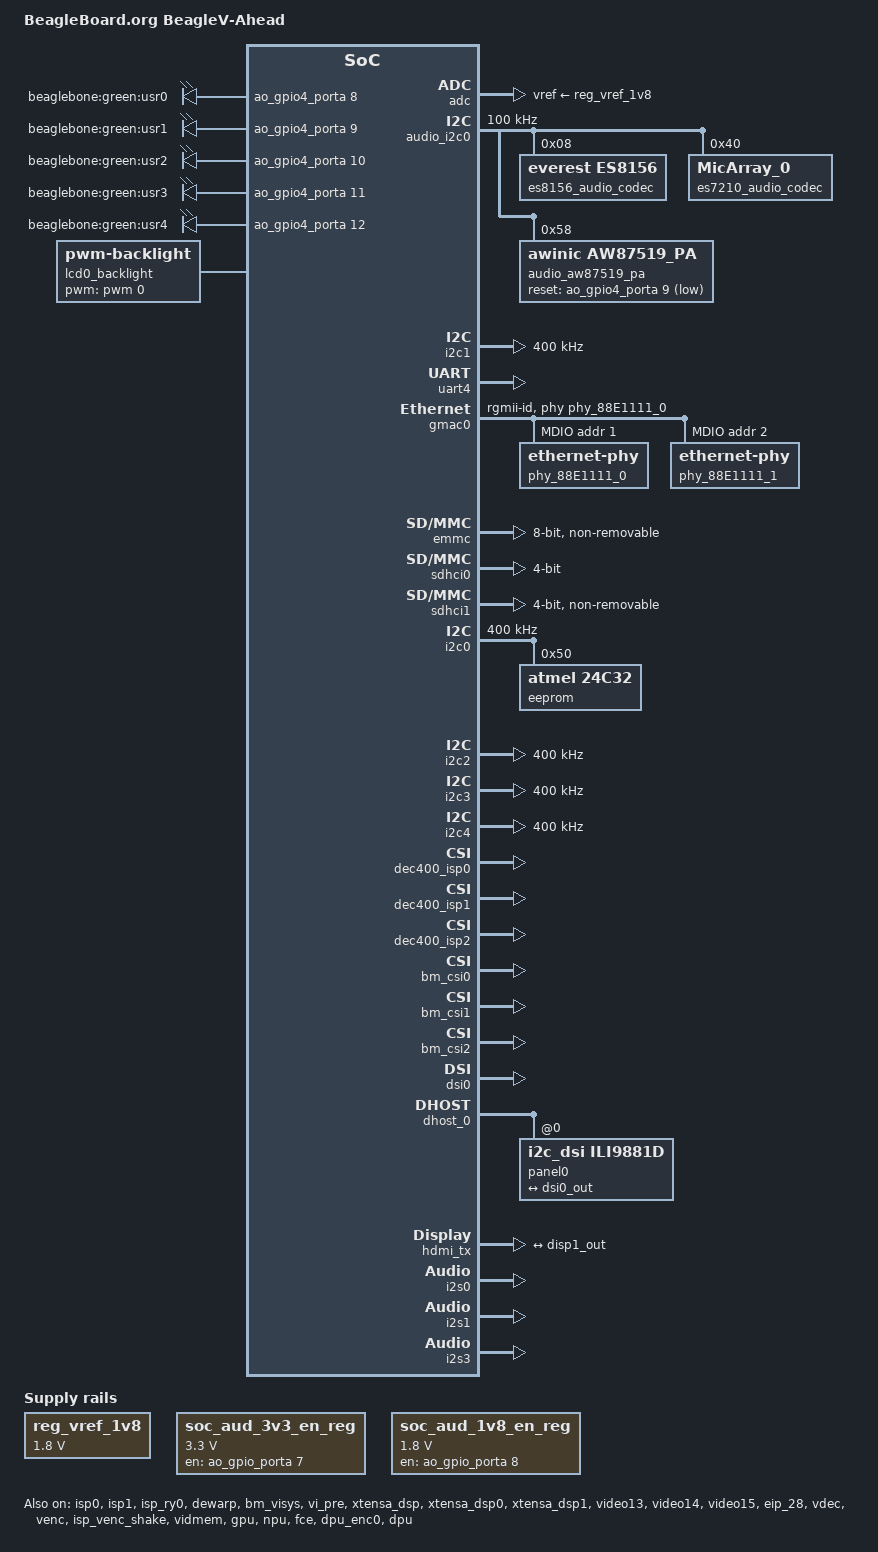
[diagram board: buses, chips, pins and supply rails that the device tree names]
/* SPDX-License-Identifier: GPL-2.0 */
/*
 * Copyright (C) 2021 Alibaba Group Holding Limited.
 * Copyright (C) 2022 BeagleBoard.org - https://beagleboard.org/
 * Copyright (C) 2022 Deepak Khatri <lorforlinux@beagleboard.org>
 */

/dts-v1/;

#include "light.dtsi"
#include <dt-bindings/input/linux-event-codes.h>
#include <dt-bindings/gpio/gpio.h>
#include "light-vi-devices.dtsi"
/ {
	model = "BeagleBoard.org BeagleV-Ahead";
	compatible = "beagle,light", "thead,light-val", "thead,light";

	chosen {
		bootargs = "console=ttyS0,115200 crashkernel=256M-:128M earlycon clk_ignore_unused sram=0xffe0000000,0x180000";
		stdout-path = "serial0:115200n8";
	};

	leds {
		compatible = "gpio-leds";
		pinctrl-names = "default";
		pinctrl-0 = <&led_pins_default>;

		led-0 {
			label = "beaglebone:green:usr0";
			gpios = <&ao_gpio4_porta 8 GPIO_ACTIVE_HIGH>;
			linux,default-trigger = "heartbeat";
			//function = LED_FUNCTION_HEARTBEAT;
		};

		led-1 {
			label = "beaglebone:green:usr1";
			gpios = <&ao_gpio4_porta 9 GPIO_ACTIVE_HIGH>;
			linux,default-trigger = "mmc0";
			//function = LED_FUNCTION_DISK_ACTIVITY;
		};

		led-2 {
			label = "beaglebone:green:usr2";
			gpios = <&ao_gpio4_porta 10 GPIO_ACTIVE_HIGH>;
			linux,default-trigger = "cpu";
			//function = LED_FUNCTION_CPU;
		};

		led-3 {
			label = "beaglebone:green:usr3";
			gpios = <&ao_gpio4_porta 11 GPIO_ACTIVE_HIGH>;
			linux,default-trigger = "mmc1";
			//function = LED_FUNCTION_DISK_ACTIVITY;
		};

		led-4 {
			label = "beaglebone:green:usr4";
			gpios = <&ao_gpio4_porta 12 GPIO_ACTIVE_HIGH>;
			linux,default-trigger = "netdev";
			//function = LED_FUNCTION_WLAN;
		};
	};

	display-subsystem {
		status = "okay";
	};

	lcd0_backlight: pwm-backlight@0 {
		compatible = "pwm-backlight";
		pwms = <&pwm 0 5000000>;
		brightness-levels = <0 4 8 16 32 64 128 255>;
		default-brightness-level = <7>;
	};

	light_iopmp: iopmp {
		compatible = "thead,light-iopmp";

		/* config#1: multiple valid regions */
		iopmp_emmc: IOPMP_EMMC {
			regions = <0x000000 0x100000>,
				  <0x100000 0x200000>;
			attr = <0xFFFFFFFF>;
			dummy_slave= <0x800000>;
		};

		/* config#2: iopmp bypass */
		iopmp_sdio0: IOPMP_SDIO0 {
			bypass_en;
		};

		/* config#3: iopmp default region set */
		iopmp_sdio1: IOPMP_SDIO1 {
			attr = <0xFFFFFFFF>;
			is_default_region;
		};

		iopmp_usb0: IOPMP_USB0 {
			attr = <0xFFFFFFFF>;
			is_default_region;
		};

		iopmp_ao: IOPMP_AO {
			is_default_region;
		};

		iopmp_aud: IOPMP_AUD {
			is_default_region;
		};

		iopmp_chip_dbg: IOPMP_CHIP_DBG {
			is_default_region;
		};

		iopmp_eip120i: IOPMP_EIP120I {
			is_default_region;
		};

		iopmp_eip120ii: IOPMP_EIP120II {
			is_default_region;
		};

		iopmp_eip120iii: IOPMP_EIP120III {
			is_default_region;
		};

		iopmp_isp0: IOPMP_ISP0 {
			is_default_region;
		};

		iopmp_isp1: IOPMP_ISP1 {
			is_default_region;
		};

		iopmp_dw200: IOPMP_DW200 {
			is_default_region;
		};

		iopmp_vipre: IOPMP_VIPRE {
			is_default_region;
		};

		iopmp_venc: IOPMP_VENC {
			is_default_region;
		};

		iopmp_vdec: IOPMP_VDEC {
			is_default_region;
		};

		iopmp_g2d: IOPMP_G2D {
			is_default_region;
		};

		iopmp_fce: IOPMP_FCE {
			is_default_region;
		};

		iopmp_npu: IOPMP_NPU {
			is_default_region;
		};

		iopmp0_dpu: IOPMP0_DPU {
			bypass_en;
		};

		iopmp1_dpu: IOPMP1_DPU {
			bypass_en;
		};

		iopmp_gpu: IOPMP_GPU {
			is_default_region;
		};

		iopmp_gmac1: IOPMP_GMAC1 {
			is_default_region;
		};

		iopmp_gmac2: IOPMP_GMAC2 {
			is_default_region;
		};

		iopmp_dmac: IOPMP_DMAC {
			is_default_region;
		};

		iopmp_tee_dmac: IOPMP_TEE_DMAC {
			is_default_region;
		};

		iopmp_dsp0: IOPMP_DSP0 {
			is_default_region;
		};

		iopmp_dsp1: IOPMP_DSP1 {
			is_default_region;
		};
	};

	mbox_910t_client1: mbox_910t_client1 {
		compatible = "thead,light-mbox-client";
		mbox-names = "902";
		mboxes = <&mbox_910t 1 0>;
		status = "disabled";
	};


	mbox_910t_client2: mbox_910t_client2 {
		compatible = "thead,light-mbox-client";
		mbox-names = "906";
		mboxes = <&mbox_910t 2 0>;
		status = "disabled";
	};

	lightsound: lightsound@1 {
		compatible = "simple-audio-card";
		simple-audio-card,name = "Light-Sound-Card";

		#address-cells = <1>;
		#size-cells = <0>;

		status = "disabled";
	};

	dummy_codec: dummy_codec {
		#sound-dai-cells = <1>;
		compatible = "linux,bt-sco";
		status = "okay";
	};

	reg_vref_1v8: regulator-adc-verf {
			compatible = "regulator-fixed";
			regulator-name = "vref-1v8";
			regulator-min-microvolt = <1800000>;
			regulator-max-microvolt = <1800000>;
		status = "okay";
	};

	aon: aon {
		compatible = "thead,light-aon";
		mbox-names = "aon";
		mboxes = <&mbox_910t 1 0>;
		status = "okay";

		pd: light-aon-pd {
			compatible = "thead,light-aon-pd";
			#power-domain-cells = <1>;
		};

		soc_aud_3v3_en_reg: soc_aud_3v3_en {
			compatible = "regulator-fixed";
			regulator-name = "soc_aud_3v3_en";
			regulator-min-microvolt = <3300000>;
			regulator-max-microvolt = <3300000>;
			gpio = <&ao_gpio_porta 7 1>;
			enable-active-high;
			regulator-always-on;
		};

		soc_aud_1v8_en_reg: soc_aud_1v8_en {
			compatible = "regulator-fixed";
			regulator-name = "soc_aud_1v8_en";
			regulator-min-microvolt = <1800000>;
			regulator-max-microvolt = <1800000>;
			gpio = <&ao_gpio_porta 8 1>;
			enable-active-high;
			regulator-always-on;
		};

		aon_reg_dialog: light-dialog-reg {
			compatible = "thead,light-dialog-pmic-ant";
			status = "okay";

			dvdd_cpu_reg: appcpu_dvdd {
				regulator-name = "appcpu_dvdd";
				regulator-min-microvolt = <300000>;
				regulator-max-microvolt = <1570000>;
				regulator-boot-on;
				regulator-always-on;
			};

			dvddm_cpu_reg: appcpu_dvddm {
				regulator-name = "appcpu_dvddm";
				regulator-min-microvolt = <300000>;
				regulator-max-microvolt = <1570000>;
				regulator-boot-on;
				regulator-always-on;
			};

			soc_dvdd18_aon_reg: soc_dvdd18_aon {
				regulator-name = "soc_dvdd18_aon";
				regulator-boot-on;
				regulator-always-on;
			};

			soc_avdd33_usb3_reg: soc_avdd33_usb3 {
				regulator-name = "soc_avdd33_usb3";
				regulator-boot-on;
				regulator-always-on;
			};

			soc_dvdd08_aon_reg: soc_dvdd08_aon {
				regulator-name = "soc_dvdd08_aon";
				regulator-boot-on;
				regulator-always-on;
			};

			soc_dvdd08_ddr_reg: soc_dvdd08_ddr {
				regulator-name = "soc_dvdd08_ddr";
				regulator-boot-on;
				regulator-always-on;
			};

			soc_vdd_ddr_1v8_reg: soc_vdd_ddr_1v8 {
				regulator-name = "soc_vdd_ddr_1v8";
				regulator-boot-on;
				regulator-always-on;
			};

			soc_vdd_ddr_1v1_reg: soc_vdd_ddr_1v1 {
				regulator-name = "soc_vdd_ddr_1v1";
				regulator-boot-on;
				regulator-always-on;
			};

			soc_vdd_ddr_0v6_reg: soc_vdd_ddr_0v6 {
				regulator-name = "soc_vdd_ddr_0v6";
				regulator-boot-on;
				regulator-always-on;
			};

			soc_dvdd18_ap_reg: soc_dvdd18_ap {
				regulator-name = "soc_dvdd18_ap";
				regulator-boot-on;
				regulator-always-on;
			};

			soc_avdd08_mipi_hdmi_reg: soc_avdd08_mipi_hdmi {
				regulator-name = "soc_avdd08_mipi_hdmi";
				regulator-boot-on;
				regulator-always-on;
			};

			soc_avdd18_mipi_hdmi_reg: soc_avdd18_mipi_hdmi {
				regulator-name = "soc_avdd18_mipi_hdmi";
				regulator-boot-on;
				regulator-always-on;
			};

			soc_vdd33_emmc_reg: soc_vdd33_emmc {
				regulator-name = "soc_vdd33_emmc";
				regulator-boot-on;
				regulator-always-on;
			};

			soc_vdd18_emmc_reg: soc_vdd18_emmc {
				regulator-name = "soc_vdd18_emmc";
				regulator-boot-on;
				regulator-always-on;
			};

			soc_dovdd18_scan_reg: soc_dovdd18_scan {
				regulator-name = "soc_dovdd18_scan";
				regulator-min-microvolt = <900000>;
				regulator-max-microvolt = <3600000>;
			};

			soc_dvdd12_scan_reg: soc_dvdd12_scan {
				regulator-name = "soc_dvdd12_scan";
				regulator-min-microvolt = <900000>;
				regulator-max-microvolt = <3600000>;
			};

			soc_avdd28_scan_en_reg: soc_avdd28_scan_en {
				regulator-name = "soc_avdd28_scan_en";
				regulator-min-microvolt = <900000>;
				regulator-max-microvolt = <3600000>;
			};

		};

		c910_cpufreq {
			compatible = "thead,light-mpw-cpufreq";
			status = "okay";
		};

		test: light-aon-test {
			compatible = "thead,light-aon-test";
		};
	};

};

&resmem {
	#address-cells = <2>;
	#size-cells = <2>;
	ranges;

	tee_mem: memory@1c000000 {
		reg = <0x0 0x1c000000 0 0x2000000>;
		no-map;
	};

	dsp0_mem: memory@20000000 {             /**0x2000_0000~0x2040_0000 4M**/
		reg = <0x0 0x20000000 0x0 0x00280000   /* DSP FW code&data section 2.5M*/ 
               0x0 0x20280000 0x0 0x00001000   /* DSP communication area 4K*/ 
               0x0 0x20281000 0x0 0x00007000  /* Panic/log page 28K */
               0x0 0x20288000 0x0 0x00178000>;  /* DSP shared memory 1.5M-32K*/
		no-map;
	};
    dsp1_mem: memory@20400000 {             /**0x2040_0000~0x2080_0000 4M**/
        reg = <0x0 0x20400000 0x0 0x00280000  /* DSP FW code&data section */ 
               0x0 0x20680000 0x0 0x00001000 /* DSP communication area */
               0x0 0x20681000 0x0 0x00007000    /* Panic/log page*/ 
               0x0 0x20688000 0x0 0x00178000>;  /* DSP shared memory */
        no-map;
    };
	vi_mem: framebuffer@10000000 {
		reg = <0x0 0x10000000 0x0 0x02C00000	/* vi_mem_pool_region[0]  44 MB (default) */
		       0x0 0x12C00000 0x0 0x01D00000	/* vi_mem_pool_region[1]  29 MB */
		       0x0 0x14900000 0x0 0x01E00000>;	/* vi_mem_pool_region[2]  30 MB */
		no-map;
	};
	facelib_mem: memory@17000000 {
		reg = <0x0 0x17000000 0 0x02000000>;
		no-map;
	};

};

&adc {
	vref-supply = <&reg_vref_1v8>;
    #io-channel-cells = <1>;
	status = "okay";
};

&audio_i2c0 {
        clock-frequency = <100000>;
        status = "okay";

       es8156_audio_codec: es8156@8 {
               #sound-dai-cells = <0>;
               compatible = "everest,es8156";
               reg = <0x08>;
       };

        es7210_audio_codec: es7210@40 {
                #sound-dai-cells = <0>;
                compatible = "MicArray_0";
                reg = <0x40>;
        };

	audio_aw87519_pa@58 {
		compatible = "awinic,aw87519_pa";
		reg = <0x58>;
		reset-gpio = <&ao_gpio4_porta 9 0x1>;
		status = "okay";
	};
};

&i2c1 {
        clock-frequency = <100000>;
        status = "okay";
};

&spi0 {
	num-cs = <1>;
	cs-gpios = <&gpio2_porta 15 0>; // GPIO_ACTIVE_HIGH: 0
	rx-sample-delay-ns = <10>;
	status = "disabled";

	spi_norflash@0 {
		#address-cells = <1>;
		#size-cells = <1>;
		compatible = "winbond,w25q64jwm", "jedec,spi-nor";
		reg = <0>;
		spi-max-frequency = <50000000>;
		w25q,fast-read;
	};

	channel@1 {
		compatible = "rohm,dh2228fv";
		//symlink = "bone/spi/0.1";
		#address-cells = <0x1>;
		#size-cells = <0x0>;
		reg = <0x1>;
		spi-max-frequency = <50000000>;
	};
};

&uart0 {
	clock-frequency = <100000000>;
};

&uart4 {
	pinctrl-names = "default";
	pinctrl-0 = <&pinctrl_uart4>;
	symlink = "bone/uart/bluetooth";
	uart-has-rtscts;
	status = "okay";

	//bluetooth {
	//	// WIP: AP6203BM: BCM43013
	//	compatible = "brcm,bcm4330-bt";
	//	pinctrl-names = "default";
	//	pinctrl-0 = <&pinctrl_bt>;
	//	max-speed = <3000000>;
	//	shutdown-gpios = <&gpio2_porta 28 GPIO_ACTIVE_HIGH>;
	//	device-wakeup-gpios = <&gpio2_porta 29 GPIO_ACTIVE_HIGH>;
	//	host-wakeup-gpios = <&gpio2_porta 30 GPIO_ACTIVE_HIGH>;
	//};
};

&qspi0 {
	num-cs = <1>;
	cs-gpios = <&gpio2_porta 3 0>;
	rx-sample-dly = <4>;
	status = "disabled";

	spi-flash@0 {
		#address-cells = <1>;
		#size-cells = <1>;
		compatible = "spi-nand";
		spi-max-frequency = <100000000>;
		spi-tx-bus-width = <4>;
		spi-rx-bus-width = <4>;
		reg = <0>;

		partition@0 {
			label = "ubi1";
			reg = <0x00000000 0x08000000>;
		};
	};
};

&qspi1 {
	compatible = "snps,dw-apb-ssi";
	num-cs = <1>;
	cs-gpios = <&gpio0_porta 1 0>;
	status = "disabled";

	channel@0 {
		compatible = "rohm,dh2228fv";
		//symlink = "bone/spi/1.1";
		#address-cells = <0x1>;
		#size-cells = <0x1>;
		reg = <0x0>;
		spi-max-frequency = <50000000>;
	};

};

&gmac0 {
	phy-mode = "rgmii-id";
	rx-clk-delay = <0x00>; /* for RGMII */
	tx-clk-delay = <0x00>; /* for RGMII */
	phy-handle = <&phy_88E1111_0>;
	status = "okay";

	mdio0 {
		#address-cells = <1>;
		#size-cells = <0>;
		compatible = "snps,dwmac-mdio";

		phy_88E1111_0: ethernet-phy@0 {
			reg = <0x1>;
		};

		phy_88E1111_1: ethernet-phy@1 {
			reg = <0x2>;
		};
	};
};

&gmac1 {
	phy-mode = "rgmii-id";
	rx-clk-delay = <0x00>; /* for RGMII */
	tx-clk-delay = <0x00>; /* for RGMII */
	phy-handle = <&phy_88E1111_1>;
	status = "disabled";
};

&emmc {
	max-frequency = <198000000>;
	non-removable;
	mmc-hs400-1_8v;
	io_fixed_1v8;
	is_emmc;
	no-sdio;
	no-sd;
	pull_up;
	bus-width = <8>;
	status = "okay";
};

&sdhci0 {
	max-frequency = <198000000>;
	bus-width = <4>;
	pull_up;
	wprtn_ignore;
	status = "okay";
};

&sdhci1 {
	max-frequency = <100000000>;
	bus-width = <4>;
	pull_up;
	no-sd;
	no-mmc;
	non-removable;
	io_fixed_1v8;
	post-power-on-delay-ms = <50>;
	wprtn_ignore;
	cap-sd-highspeed;
	keep-power-in-suspend;
	wakeup-source;
	status = "okay";
};

&padctrl0_apsys { /* right-pinctrl */
	light_padctrl0: light-evb-padctrl0 {
			/*
			 * Pin Configuration Node:
			 * Format: <pin_id mux_node config>
			 */
			pinctrl_uart0: uart0grp {
				thead,pins = <
					FM_UART0_TXD	0x0	0x72
					FM_UART0_RXD	0x0	0x72
				>;
			};

			pinctrl_spi0: spi0grp {
				thead,pins = <
					FM_SPI_CSN	0x3	0x20a
					FM_SPI_SCLK	0x0	0x20a
					FM_SPI_MISO	0x0	0x23a
					FM_SPI_MOSI	0x0	0x23a
				>;
			};

			pinctrl_qspi0: qspi0grp {
				thead,pins = <
					FM_QSPI0_SCLK    0x0    0x20f
					FM_QSPI0_CSN0    0x3    0x20f
					FM_QSPI0_CSN1    0x0    0x20f
					FM_QSPI0_D0_MOSI 0x0    0x23f
					FM_QSPI0_D1_MISO 0x0    0x23f
					FM_QSPI0_D2_WP   0x0    0x23f
					FM_QSPI0_D3_HOLD 0x0    0x23f
				>;
			};

			pinctrl_audio_i2s0: i2s0grp {
				thead,pins = <
					FM_QSPI0_SCLK    0x2    0x208
					FM_QSPI0_CSN0    0x2    0x238
					FM_QSPI0_CSN1    0x2    0x208
					FM_QSPI0_D0_MOSI 0x2    0x238
					FM_QSPI0_D1_MISO 0x2    0x238
					FM_QSPI0_D2_WP   0x2    0x238
					FM_QSPI0_D3_HOLD 0x2    0x238
				>;
			};

			pinctrl_pwm: pwmgrp {
				thead,pins = <
					FM_GPIO3_2	0x1	0x208	/* pwm0 */
				>;
		};

		pinctrl_bt: btgrp {
			thead,pins = <
				FM_SDIO1_WPRTN  0x3	0x72
				FM_SDIO1_DETN   0x3	0x72
				FM_GPIO2_30     0x0	0x72
			>;
		};
	};
};

&padctrl1_apsys { /* left-pinctrl */
	light_padctrl1: light-evb-padctrl1 {
			/*
			 * Pin Configuration Node:
			 * Format: <pin_id mux_node config>
			 */
			pinctrl_uart3: uart3grp {
				thead,pins = <
					FM_UART3_TXD	0x0	0x72
					FM_UART3_RXD	0x0	0x72
				>;
			};

			pinctrl_uart4: uart4grp {
				thead,pins = <
					FM_UART4_TXD	0x0	0x72
					FM_UART4_RXD	0x0	0x72
					FM_UART4_CTSN	0x0	0x72
					FM_UART4_RTSN	0x0	0x72
				>;
			};

			pinctrl_qspi1: qspi1grp {
				thead,pins = <
					FM_QSPI1_SCLK    0x0    0x20a
					FM_QSPI1_CSN0    0x3    0x20a
					FM_QSPI1_D0_MOSI 0x0    0x23a
					FM_QSPI1_D1_MISO 0x0    0x23a
				>;
			};


			pinctrl_iso7816: iso7816grp {
				thead,pins = <
					FM_QSPI1_SCLK		0x1	0x208
					FM_QSPI1_D0_MOSI	0x1	0x238
					FM_QSPI1_D1_MISO	0x1	0x238
					FM_QSPI1_D2_WP		0x1	0x238
					FM_QSPI1_D3_HOLD	0x1	0x238
				>;
		};
	};
};

/*
	PIN      ,        0x0,   0x1,  0x2,     0x3,   0x4,  0x5
	AUDIO_PA8,  AUDIO_PA8,  NULL, NULL, GPIO4_8,  NULL, NULL
	AUDIO_PA9,  AUDIO_PA9,  NULL, NULL, GPIO4_9,  NULL, NULL
	AUDIO_PA10, AUDIO_PA10, NULL, NULL, GPIO4_10, NULL, NULL
	AUDIO_PA11, AUDIO_PA11, NULL, NULL, GPIO4_11, NULL, NULL
	AUDIO_PA12, AUDIO_PA12, NULL, NULL, GPIO4_12, NULL, NULL
*/

#define FM_AUDIO_PA8_AUDIO_PA8 0x00
#define FM_AUDIO_PA8_GPIO 0x03

&padctrl_aosys {
	light_padctrl: light-aon-padctrl {
			/*
			 * Pin Configuration Node:
			 * Format: <pin_id mux_node config>
			 */

			pinctrl_audiopa1: audiopa1_grp {
				thead,pins = <
					FM_AUDIO_PA1	0x3	0x72
				>;
			};

			pinctrl_audiopa2: audiopa2_grp {
				thead,pins = <
					FM_AUDIO_PA2	0x0	0x72
				>;
			};

		led_pins_default: leds0_grp {
			thead,pins = <
				FM_AUDIO_PA8	0x3	0x72
				FM_AUDIO_PA9	0x3	0x72
				FM_AUDIO_PA10	0x3	0x72
				FM_AUDIO_PA11	0x3	0x72
				FM_AUDIO_PA12	0x3	0x72
			>;
		};
	};
};

&i2c0 {
    clock-frequency = <400000>;
	status = "okay";

	eeprom@50 {
		compatible = "atmel,24c32";
		reg = <0x50>;
	};
};

&i2c1 {
    clock-frequency = <400000>;
	status = "okay";
};

&i2c2 {
    clock-frequency = <400000>;
	status = "okay";
};

&i2c3 {
    clock-frequency = <400000>;
	status = "okay";
};

&i2c4 {
    clock-frequency = <400000>;
	status = "okay";
};

&isp0 {
	status = "okay";
};

&isp1 {
	status = "okay";
};

&isp_ry0 {
	status = "okay";
};

&dewarp {
	status = "okay";
};

&dec400_isp0 {
	status = "okay";
};

&dec400_isp1 {
	status = "okay";
};

&dec400_isp2 {
	status = "okay";
};

&bm_visys {
	status = "okay";
};

&bm_csi0 {
	status = "okay";
};

&bm_csi1 {
	status = "okay";
};

&bm_csi2 {
	status = "okay";
};

&vi_pre {
	//vi_pre_irq_en = <1>;
	status = "okay";
};

&xtensa_dsp {
	status = "okay";
};

&xtensa_dsp0 {
	status = "okay";
    memory-region = <&dsp0_mem>;
};

&xtensa_dsp1 {
	status = "okay";
    memory-region = <&dsp1_mem>;
};

&video0{
    vi_mem_pool_region = <2>;	// vi_mem: framebuffer, region[2]
    channel0 {
		sensor0 {
			subdev_name = "vivcam";
			idx = <2>; //<2>=vivcam2 : gc5035
			csi_idx = <0>; //<0>=CSI2
			mode_idx = <3>;
			path_type = "SENSOR_1296x972_RAW10_LINER"; //SENSOR_VGA_RAW10_LINER//
		};
		sensor1 {
			subdev_name = "vivcam";
			idx = <3>; //<3>=vivcam3 : gc02m1b
			csi_idx = <0>; //<0>=CSI2
			mode_idx = <0>;
			path_type = "SENSOR_1600x1200_RAW10_LINER";
		};
        dma {
			path_type = "VIPRE_CSI0_ISP0";
		};
		isp {
			subdev_name = "isp";
			idx = <0>;
			path_type = "ISP_MI_PATH_MP";
			output {
				max_width = <1920>;
				max_height = <1088>;
				bit_per_pixel = <12>;
				frame_count = <3>;
			};
		};
	};
	channel1 {
		sensor0 {
			subdev_name = "vivcam";
			idx = <2>; //<2>=vivcam2 : gc5035
			csi_idx = <0>; //<0>=CSI2
			mode_idx = <3>;
			path_type = "SENSOR_1296x972_RAW10_LINER"; //SENSOR_VGA_RAW10_LINER//
		};
		sensor1 {
			subdev_name = "vivcam";
			idx = <3>; //<3>=vivcam3 : gc02m1b
			csi_idx = <0>; //<0>=CSI2
			mode_idx = <0>;
			path_type = "SENSOR_1600x1200_RAW10_LINER";
		};
        dma {
			path_type = "VIPRE_CSI0_ISP0";
		};
		isp {
			subdev_name = "isp";
			idx = <0>;
			path_type = "ISP_MI_PATH_SP";
			output {
				max_width = <1920>;
				max_height = <1088>;
				bit_per_pixel = <12>;
				frame_count = <3>;
			};
		};
	};
	channel2 {
		sensor0 {
			subdev_name = "vivcam";
			idx = <2>; //<2>=vivcam2 : gc5035
			csi_idx = <0>; //<0>=CSI2
			mode_idx = <3>;
			path_type = "SENSOR_1296x972_RAW10_LINER"; //SENSOR_VGA_RAW10_LINER//
		};
		sensor1 {
			subdev_name = "vivcam";
			idx = <3>; //<3>=vivcam3 : gc02m1b
			csi_idx = <0>; //<0>=CSI2
			mode_idx = <0>;
			path_type = "SENSOR_1600x1200_RAW10_LINER";
		};
        dma {
			path_type = "VIPRE_CSI0_ISP0";
		};
		isp {
			subdev_name = "isp";
			idx = <0>;
			path_type = "ISP_MI_PATH_SP2_BP";
			output {
				max_width = <1920>;
				max_height = <1088>;
				bit_per_pixel = <12>;
				frame_count = <3>;
			};
		};
	};
};


&video1{
    vi_mem_pool_region = <2>;	// vi_mem: framebuffer, region[2]
    channel0 {
		sensor0 {
			subdev_name = "vivcam";
			idx = <2>; //<2>=vivcam2 : gc5035
			csi_idx = <0>; //<0>=CSI2
			mode_idx = <3>;
			path_type = "SENSOR_1296x972_RAW10_LINER";
		};
		sensor1 {
			subdev_name = "vivcam";
			idx = <3>; //<3>=vivcam3 : gc02m1b
			csi_idx = <0>; //<0>=CSI2
			mode_idx = <0>;
			path_type = "SENSOR_1600x1200_RAW10_LINER";
		};
        dma {
			path_type = "VIPRE_CSI0_ISP0";
		};

		isp {
			subdev_name = "isp";
			idx = <0>;
			path_type = "ISP_MI_PATH_MP";
			output {
				max_width = <1920>;
				max_height = <1088>;
				bit_per_pixel = <12>;
				frame_count = <3>;
			};
		};
		dw {
			subdev_name = "dw";
			idx = <0>;
			path_type = "DW_DWE_VSE0";
			dw_dst_depth = <2>;
		};
	};
	channel1 {
		sensor0 {
			subdev_name = "vivcam";
			idx = <2>; //<2>=vivcam2 : gc5035
			csi_idx = <0>; //<0>=CSI2
			mode_idx = <3>;
			path_type = "SENSOR_1296x972_RAW10_LINER";
		};
		sensor1 {
			subdev_name = "vivcam";
			idx = <3>; //<3>=vivcam3 : gc02m1b
			csi_idx = <0>; //<0>=CSI2
			mode_idx = <0>;
			path_type = "SENSOR_1600x1200_RAW10_LINER";
		};
        dma {
			path_type = "VIPRE_CSI0_ISP0";
		};

		isp {
			subdev_name = "isp";
			idx = <0>;
			path_type = "ISP_MI_PATH_MP";
			output {
				max_width = <1920>;
				max_height = <1088>;
				bit_per_pixel = <12>;
				frame_count = <3>;
			};
		};
		dw {
			subdev_name = "dw";
			idx = <0>;
			path_type = "DW_DWE_VSE1";
			dw_dst_depth = <2>;
		};
	};
	channel2 {
		sensor0 {
			subdev_name = "vivcam";
			idx = <2>; //<2>=vivcam2 : gc5035
			csi_idx = <0>; //<0>=CSI2
			mode_idx = <3>;
			path_type = "SENSOR_1296x972_RAW10_LINER";
		};
		sensor1 {
			subdev_name = "vivcam";
			idx = <3>; //<3>=vivcam3 : gc02m1b
			csi_idx = <0>; //<0>=CSI2
			mode_idx = <0>;
			path_type = "SENSOR_1600x1200_RAW10_LINER";
		};
        dma {
			path_type = "VIPRE_CSI0_ISP0";
		};

		isp {
			subdev_name = "isp";
			idx = <0>;
			path_type = "ISP_MI_PATH_MP";
			output {
				max_width = <1920>;
				max_height = <1088>;
				bit_per_pixel = <12>;
				frame_count = <3>;
			};
		};
		dw {
			subdev_name = "dw";
			idx = <0>;
			path_type = "DW_DWE_VSE2";
			dw_dst_depth = <2>;
		};
	};
};

&video2{
    vi_mem_pool_region = <0>;	// vi_mem: framebuffer, region[0]
    channel0 {
		sensor0 {
			subdev_name = "vivcam";
			idx = <0>; //vivcam0 sc2310
			csi_idx = <1>; //<1>=CSI2_B
			mode_idx = <1>;
			path_type = "SENSOR_1920X1088_30FPS_RAW12_LINER";
		};
        dma {
			path_type = "VIPRE_CSI1_ISP1";
		};
		isp {
			subdev_name = "isp";
			idx = <1>;
			path_type = "ISP_MI_PATH_MP";
			output {
				max_width = <1920>;
				max_height = <1088>;
				bit_per_pixel = <12>;
				frame_count = <3>;
			};
		};
	};
	channel1 {
		sensor0 {
			subdev_name = "vivcam";
			idx = <0>; //vivcam0 sc2310
			csi_idx = <1>; //<1>=CSI2_B
			mode_idx = <1>;
			path_type = "SENSOR_1920X1088_30FPS_RAW12_LINER";
		};
        dma {
			path_type = "VIPRE_CSI1_ISP1";
		};
		isp {
			subdev_name = "isp";
			idx = <1>;
			path_type = "ISP_MI_PATH_SP";
			output {
				max_width = <1920>;
				max_height = <1088>;
				bit_per_pixel = <12>;
				frame_count = <3>;
			};
		};
	};
	channel2 {
		sensor0 {
			subdev_name = "vivcam";
			idx = <0>; //vivcam0 sc2310
			csi_idx = <1>; //<1>=CSI2_B
			mode_idx = <1>;
			path_type = "SENSOR_1920X1088_30FPS_RAW12_LINER";
		};
        dma {
			path_type = "VIPRE_CSI1_ISP1";
		};
		isp {
			subdev_name = "isp";
			idx = <1>;
			path_type = "ISP_MI_PATH_SP2_BP";
			output {
				max_width = <1920>;
				max_height = <1088>;
				bit_per_pixel = <12>;
				frame_count = <3>;
			};
		};
	};
};

&video3{
    vi_mem_pool_region = <0>;	// vi_mem: framebuffer, region[0]
    channel0 {
		sensor0 {
			subdev_name = "vivcam";
			idx = <0>; //vivcam0 sc2310
			csi_idx = <1>; //<1>=CSI2B
			mode_idx = <1>;
			path_type = "SENSOR_1920X1088_30FPS_RAW12_LINER";
		};
        dma {
			path_type = "VIPRE_CSI1_ISP1";
		};
		isp {
			subdev_name = "isp";
			idx = <1>;
			path_type = "ISP_MI_PATH_MP";
			output {
				max_width = <1920>;
				max_height = <1088>;
				bit_per_pixel = <12>;
				frame_count = <3>;
			};
		};
		dw {
			subdev_name = "dw";
			idx = <0>;
			path_type = "DW_DWE_VSE0";
			dw_dst_depth = <2>;
		};
	};
	channel1 {
		sensor0 {
			subdev_name = "vivcam";
			idx = <0>; //vivcam0 sc2310
			csi_idx = <1>; //<1>=CSI2B
			mode_idx = <1>;
			path_type = "SENSOR_1920X1088_30FPS_RAW12_LINER";
		};
        dma {
			path_type = "VIPRE_CSI1_ISP1";
		};
		isp {
			subdev_name = "isp";
			idx = <1>;
			path_type = "ISP_MI_PATH_MP";
			output {
				max_width = <1920>;
				max_height = <1088>;
				bit_per_pixel = <12>;
				frame_count = <3>;
			};
		};
		dw {
			subdev_name = "dw";
			idx = <0>;
			path_type = "DW_DWE_VSE1";
			dw_dst_depth = <2>;
		};
	};
	channel2 {
		sensor0 {
			subdev_name = "vivcam";
			idx = <0>; //vivcam0 sc2310
			csi_idx = <1>; //<1>=CSI2_B
			mode_idx = <1>;
			path_type = "SENSOR_1920X1088_30FPS_RAW12_LINER";
		};
        dma {
			path_type = "VIPRE_CSI1_ISP1";
		};
		isp {
			subdev_name = "isp";
			idx = <1>;
			path_type = "ISP_MI_PATH_MP";
			output {
				max_width = <1920>;
				max_height = <1088>;
				bit_per_pixel = <12>;
				frame_count = <3>;
			};
		};
		dw {
			subdev_name = "dw";
			idx = <0>;
			path_type = "DW_DWE_VSE2";
			dw_dst_depth = <2>;
		};
	};
};

&video4{
    vi_mem_pool_region = <0>;	// vi_mem: framebuffer, region[0]
    channel0 {
		sensor0 {
			subdev_name = "vivcam";
			idx = <0>; //vivcam0 sc2310
			csi_idx = <1>; //<1>=CSI2_B
			mode_idx = <1>;
			path_type = "SENSOR_1920X1088_30FPS_RAW12_LINER";
		};
        dma {
			path_type = "VIPRE_CSI1_ISP1";
		};
		isp {
			subdev_name = "isp";
			idx = <1>;
			path_type = "ISP_MI_PATH_PP";
			output {
				max_width = <1920>;
				max_height = <1088>;
				bit_per_pixel = <12>;
				frame_count = <3>;
			};
		};
		dsp {
			subdev_name = "dsp";
			idx = <0>;
			path_type = "DSP_PATH_ISP_RY";
			output {
				max_width = <1920>;
				max_height = <1088>;
				bit_per_pixel = <12>;
				frame_count = <3>;
			};
		};
		ry {
			subdev_name = "ry";
			idx = <0>;
			path_type = "ISP_RY_MI_PATH_MP";
			output {
				max_width = <1920>;
				max_height = <1088>;
				bit_per_pixel = <12>;
				frame_count = <3>;
			};
		};
	};
	channel1 {
		sensor0 {
			subdev_name = "vivcam";
			idx = <0>; //vivcam0 sc2310
			csi_idx = <1>; //<1>=CSI2_B
			mode_idx = <1>;
			path_type = "SENSOR_1920X1088_30FPS_RAW12_LINER";
		};
        dma {
			path_type = "VIPRE_CSI1_ISP1";
		};
		isp {
			subdev_name = "isp";
			idx = <1>;
			path_type = "ISP_MI_PATH_PP";
			output {
				max_width = <1920>;
				max_height = <1088>;
				bit_per_pixel = <12>;
				frame_count = <3>;
			};
		};
		dsp {
			subdev_name = "dsp";
			idx = <0>;
			path_type = "DSP_PATH_ISP_RY";
			output {
				max_width = <1920>;
				max_height = <1088>;
				bit_per_pixel = <12>;
				frame_count = <3>;
			};
		};
		ry {
			subdev_name = "ry";
			idx = <0>;
			path_type = "ISP_RY_MI_PATH_SP";
			output {
				max_width = <1920>;
				max_height = <1088>;
				bit_per_pixel = <12>;
				frame_count = <3>;
			};
		};
	};
	channel2 {
		sensor0 {
			subdev_name = "vivcam";
			idx = <0>; //vivcam0 sc2310
			csi_idx = <1>; //<1>=CSI2_B
			mode_idx = <1>;
			path_type = "SENSOR_1920X1088_30FPS_RAW12_LINER";
		};
        dma {
			path_type = "VIPRE_CSI1_ISP1";
		};
		isp {
			subdev_name = "isp";
			idx = <1>;
			path_type = "ISP_MI_PATH_PP";
			output {
				max_width = <1920>;
				max_height = <1088>;
				bit_per_pixel = <12>;
				frame_count = <3>;
			};
		};
		dsp {
			subdev_name = "dsp";
			idx = <0>;
			path_type = "DSP_PATH_ISP_RY";
			output {
				max_width = <1920>;
				max_height = <1088>;
				bit_per_pixel = <12>;
				frame_count = <3>;
			};
		};
		ry {
			subdev_name = "ry";
			idx = <0>;
			path_type = "ISP_RY_MI_PATH_SP2_BP";
			output {
				max_width = <1920>;
				max_height = <1088>;
				bit_per_pixel = <12>;
				frame_count = <3>;
			};
		};
	};
};

&video5{
    vi_mem_pool_region = <0>;	// vi_mem: framebuffer, region[0]
    channel0 {
		sensor0 {
			subdev_name = "vivcam";
			idx = <0>; //vivcam0 sc2310
			csi_idx = <1>; //<1>=CSI2_B
			mode_idx = <1>;
			path_type = "SENSOR_1920X1088_30FPS_RAW12_LINER";
		};
        dma {
			path_type = "VIPRE_CSI1_ISP1";
		};
		isp {
			subdev_name = "isp";
			idx = <1>;
			path_type = "ISP_MI_PATH_PP";
			output {
				max_width = <1920>;
				max_height = <1088>;
				bit_per_pixel = <12>;
				frame_count = <3>;
			};
		};
		dsp {
			subdev_name = "dsp";
			idx = <0>;
			path_type = "DSP_PATH_ISP_RY";
			output {
				max_width = <1920>;
				max_height = <1088>;
				bit_per_pixel = <12>;
				frame_count = <3>;
			};
		};
		ry {
			subdev_name = "ry";
			idx = <0>;
			path_type = "ISP_RY_MI_PATH_MP";
			output {
				max_width = <1920>;
				max_height = <1088>;
				bit_per_pixel = <12>;
				frame_count = <3>;
			};
		};
		dw {
			subdev_name = "dw";
			idx = <0>;
			path_type = "DW_DWE_VSE0";
			dw_dst_depth = <2>;
		};
	};
	channel1 {
		sensor0 {
			subdev_name = "vivcam";
			idx = <0>; //vivcam0 sc2310
			csi_idx = <1>; //<1>=CSI2_B
			mode_idx = <1>;
			path_type = "SENSOR_1920X1088_30FPS_RAW12_LINER";
		};
        dma {
			path_type = "VIPRE_CSI1_ISP1";
		};
		isp {
			subdev_name = "isp";
			idx = <1>;
			path_type = "ISP_MI_PATH_PP";
			output {
				max_width = <1920>;
				max_height = <1088>;
				bit_per_pixel = <12>;
				frame_count = <3>;
			};
		};
		dsp {
			subdev_name = "dsp";
			idx = <0>;
			path_type = "DSP_PATH_ISP_RY";
			output {
				max_width = <1920>;
				max_height = <1088>;
				bit_per_pixel = <12>;
				frame_count = <3>;
			};
		};
		ry {
			subdev_name = "ry";
			idx = <0>;
			path_type = "ISP_RY_MI_PATH_MP";
			output {
				max_width = <1920>;
				max_height = <1088>;
				bit_per_pixel = <12>;
				frame_count = <3>;
			};
		};
		dw {
			subdev_name = "dw";
			idx = <0>;
			path_type = "DW_DWE_VSE1";
			dw_dst_depth = <2>;
		};
	};
	channel2 {
		sensor0 {
			subdev_name = "vivcam";
			idx = <0>; //vivcam0 sc2310
			csi_idx = <1>; //<1>=CSI2_B
			mode_idx = <1>;
			path_type = "SENSOR_1920X1088_30FPS_RAW12_LINER";
		};
        dma {
			path_type = "VIPRE_CSI1_ISP1";
		};
		isp {
			subdev_name = "isp";
			idx = <1>;
			path_type = "ISP_MI_PATH_PP";
			output {
				max_width = <1920>;
				max_height = <1088>;
				bit_per_pixel = <12>;
				frame_count = <3>;
			};
		};
		dsp {
			subdev_name = "dsp";
			idx = <0>;
			path_type = "DSP_PATH_ISP_RY";
			output {
				max_width = <1920>;
				max_height = <1088>;
				bit_per_pixel = <12>;
				frame_count = <3>;
			};
		};
		ry {
			subdev_name = "ry";
			idx = <0>;
			path_type = "ISP_RY_MI_PATH_MP";
			output {
				max_width = <1920>;
				max_height = <1088>;
				bit_per_pixel = <12>;
				frame_count = <3>;
			};
		};
		dw {
			subdev_name = "dw";
			idx = <0>;
			path_type = "DW_DWE_VSE2";
			dw_dst_depth = <2>;
		};
	};
};

&video6{
	vi_mem_pool_region = <1>;	// vi_mem: framebuffer, region[1]
    channel0 {
		sensor0 {
			subdev_name = "vivcam";
			idx = <1>; // vivcam1 sc132gs
			csi_idx = <2>; //<2>=CSI2X2_A
			flash_led_idx = <0>;
			mode_idx = <0>;
			path_type = "SENSOR_1080X1280_30FPS_RAW10_LINER";
		};
		dsp{
			output {
				max_width = <1080>;
				max_height = <1280>;
				bit_per_pixel = <16>;
				frame_count = <3>;
			};
		};
	};
	channel1 {
		sensor0 {
			subdev_name = "vivcam";
			idx = <1>; //vivcam1 sc132gs
			csi_idx = <2>; //<2>=CSI2X2_A
			flash_led_idx = <0>;
			mode_idx = <0>;
			path_type = "SENSOR_1080X1280_30FPS_RAW10_LINER";
		};
		dsp{
			output {
				max_width = <1080>;
				max_height = <1280>;
				bit_per_pixel = <16>;
				frame_count = <3>;
			};
		};
	};

};

&video7{
	channel0 {
		sensor0 {
			subdev_name = "vivcam";
			idx = <2>; //<2>=vivcam2 : gc5035
			csi_idx = <0>; //<0>=CSI2
			mode_idx = <3>;
			path_type = "SENSOR_1296x972_RAW10_LINER"; //SENSOR_VGA_RAW10_LINER//
		};
		sensor1 {
			subdev_name = "vivcam";
			idx = <3>; //<3>=vivcam3 : gc02m1b
			csi_idx = <0>; //<0>=CSI2
			mode_idx = <0>;
			path_type = "SENSOR_1600x1200_RAW10_LINER";
		};
        dma {
			path_type = "VIPRE_CSI0_ISP0";
		};

		isp {
			subdev_name = "isp";
			idx = <0>;
			path_type = "ISP_MI_PATH_PP";
			output {
				max_width = <1920>;
				max_height = <1088>;
				bit_per_pixel = <12>;
				frame_count = <3>;
			};
		};
		dsp {
			subdev_name = "dsp";
			idx = <1>;
			path_type = "DSP_PATH_ISP_RY";
			output {
				max_width = <1920>;
				max_height = <1088>;
				bit_per_pixel = <12>;
				frame_count = <3>;
			};
		};
		ry {
			subdev_name = "ry";
			idx = <0>;
			path_type = "ISP_RY_MI_PATH_MP";
			output {
				max_width = <1920>;
				max_height = <1088>;
				bit_per_pixel = <12>;
				frame_count = <3>;
			};
		};
		dw {
			subdev_name = "dw";
			idx = <0>;
			path_type = "DW_DWE_VSE0";
			dw_dst_depth = <2>;
		};
	};
	channel1 {
		sensor0 {
			subdev_name = "vivcam";
			idx = <2>; //<2>=vivcam2 : gc5035
			csi_idx = <0>; //<0>=CSI2
			mode_idx = <3>;
			path_type = "SENSOR_1296x972_RAW10_LINER"; //SENSOR_VGA_RAW10_LINER//
		};
		sensor1 {
			subdev_name = "vivcam";
			idx = <3>; //<3>=vivcam3 : gc02m1b
			csi_idx = <0>; //<0>=CSI2
			mode_idx = <0>;
			path_type = "SENSOR_1600x1200_RAW10_LINER";
		};
        dma {
			path_type = "VIPRE_CSI0_ISP0";
		};

		isp {
			subdev_name = "isp";
			idx = <0>;
			path_type = "ISP_MI_PATH_PP";
			output {
				max_width = <1920>;
				max_height = <1088>;
				bit_per_pixel = <12>;
				frame_count = <3>;
			};
		};
		dsp {
			subdev_name = "dsp";
			idx = <1>;
			path_type = "DSP_PATH_ISP_RY";
			output {
				max_width = <1920>;
				max_height = <1088>;
				bit_per_pixel = <12>;
				frame_count = <3>;
			};
		};
		ry {
			subdev_name = "ry";
			idx = <0>;
			path_type = "ISP_RY_MI_PATH_MP";
			output {
				max_width = <1920>;
				max_height = <1088>;
				bit_per_pixel = <12>;
				frame_count = <3>;
			};
		};
		dw {
			subdev_name = "dw";
			idx = <0>;
			path_type = "DW_DWE_VSE1";
			dw_dst_depth = <2>;
		};
	};
	channel2 {
		sensor0 {
			subdev_name = "vivcam";
			idx = <2>; //<2>=vivcam2 : gc5035
			csi_idx = <0>; //<0>=CSI2
			mode_idx = <3>;
			path_type = "SENSOR_1296x972_RAW10_LINER"; //SENSOR_VGA_RAW10_LINER//
		};
		sensor1 {
			subdev_name = "vivcam";
			idx = <3>; //<3>=vivcam3 : gc02m1b
			csi_idx = <0>; //<0>=CSI2
			mode_idx = <0>;
			path_type = "SENSOR_1600x1200_RAW10_LINER";
		};
        dma {
			path_type = "VIPRE_CSI0_ISP0";
		};

		isp {
			subdev_name = "isp";
			idx = <0>;
			path_type = "ISP_MI_PATH_PP";
			output {
				max_width = <1920>;
				max_height = <1088>;
				bit_per_pixel = <12>;
				frame_count = <3>;
			};
		};
		dsp {
			subdev_name = "dsp";
			idx = <1>;
			path_type = "DSP_PATH_ISP_RY";
			output {
				max_width = <1920>;
				max_height = <1088>;
				bit_per_pixel = <12>;
				frame_count = <3>;
			};
		};
		ry {
			subdev_name = "ry";
			idx = <0>;
			path_type = "ISP_RY_MI_PATH_MP";
			output {
				max_width = <1920>;
				max_height = <1088>;
				bit_per_pixel = <12>;
				frame_count = <3>;
			};
		};
		dw {
			subdev_name = "dw";
			idx = <0>;
			path_type = "DW_DWE_VSE2";
			dw_dst_depth = <2>;
		};
	};
};


&video8{
	vi_mem_pool_region = <1>;	// vi_mem: framebuffer, region[1]
	channel0 {
		sensor0 {
			subdev_name = "vivcam";
			idx = <2>; //<2>=vivcam2 : gc5035
			csi_idx = <0>; //<0>=CSI2
			mode_idx = <3>;
			path_type = "SENSOR_1296x972_RAW10_LINER"; //SENSOR_VGA_RAW10_LINER//
		};
		sensor1 {
			subdev_name = "vivcam";
			idx = <3>; //<3>=vivcam3 : gc02m1b
			csi_idx = <0>; //<0>=CSI2
			mode_idx = <0>;
			path_type = "SENSOR_1600x1200_RAW10_LINER";
		};
        dma {
			path_type = "VIPRE_CSI0_DSP";
		};
		dsp {
			subdev_name = "dsp";
			idx = <0>;
			path_type = "DSP_PATH_VIPRE_DDR";
			output {
				max_width = <1920>;
				max_height = <1088>;
				bit_per_pixel = <12>;
				frame_count = <3>;
			};
		};
	};
};

&video9{
	channel0 {
		sensor0 {
			subdev_name = "vivcam";
			idx = <1>; //vivcam1 sc132gs
			csi_idx = <2>; //<2>=CSI2X2_A
			mode_idx = <0>;
			path_type = "SENSOR_1080X1280_30FPS_RAW10_LINER";
		};
		dsp{
			output {
				max_width = <1080>;
				max_height = <1280>;
				bit_per_pixel = <16>;
				frame_count = <3>;
			};
		};
	};
};


&video10{ // TUNINGTOOL
	channel0 {
		sensor0 {
			subdev_name = "vivcam";
			idx = <2>; //<2>=vivcam2 : gc5035
			csi_idx = <0>; //<0>=CSI2
			mode_idx = <1>;
			path_type = "SENSOR_1080P_RAW10_LINER"; //SENSOR_VGA_RAW10_LINER//
			skip_init = <1>;
		};
		sensor1 {
			subdev_name = "vivcam";
			idx = <3>; //<3>=vivcam3 : gc02m1b
			csi_idx = <0>; //<0>=CSI2
			mode_idx = <0>;
			path_type = "SENSOR_1600x1200_RAW10_LINER";
			skip_init = <1>;
		};
        dma {
			path_type = "VIPRE_CSI0_ISP0";
		};
	};
};

&video11{
	channel0 { 
		channel_id = <0>;
		status = "okay";
		sensor0 {
			subdev_name = "vivcam";
			idx = <1>; //sc132gs
			csi_idx = <2>; //<2>=CSI2X2_A
			flash_led_idx = <0>;
			mode_idx = <0>;
			path_type = "SENSOR_1080X1280_30FPS_RAW10_LINER";
		};
		isp {
			subdev_name = "isp";
			idx = <0>;
			path_type = "ISP_MI_PATH_MP";
			output {
				max_width = <1920>;
				max_height = <1088>;
				bit_per_pixel = <12>;
				frame_count = <3>;
			};
		};
	};
};

&video12{ // TUNINGTOOL
	channel0 { // CSI2
		sensor0 {
			subdev_name = "vivcam";
			idx = <0>; //sc2310
			csi_idx = <1>; //<1>=CSI2_B
			mode_idx = <1>;
			path_type = "SENSOR_1920X1088_30FPS_RAW12_LINER";
			skip_init = <1>;
		};
		sensor1 {
			subdev_name = "vivcam";
			idx = <6>; //gc02m1b
			csi_idx = <1>; //<1>=CSI2_B
			mode_idx = <0>;
			path_type = "SENSOR_1600x1200_RAW10_LINER";
			skip_init = <1>;
		};
	};
    dma {
			path_type = "VIPRE_CSI1_ISP0";
    };
};

&video13{
    status = "okay";
    //vi_mem_pool_region = <0>;
    channel0 {
        channel_id = <0>;
        status = "okay";
        sensor0 {
            subdev_name = "vivcam";
            idx = <0>; //sc2310
			csi_idx = <1>; //<1>=CSI2_B
            mode_idx = <1>;
            path_type = "SENSOR_1920X1088_26FPS_RAW12_LINER";
        };
        dma {
            subdev_name = "vipre";
            idx = <0>;
            path_type = "VIPRE_CSI0_ISP0";
        };
        isp {
            subdev_name = "isp";
            idx = <0>;
            path_type = "ISP_MI_MCM_WR0";
            output {
                max_width = <1920>;
                max_height = <1088>;
                bit_per_pixel = <16>;
                frame_count = <3>;
            };
        };
    };
};

&video14{
    vi_mem_pool_region = <2>;   // vi_mem: framebuffer, region[0]
    status = "okay";
    channel0 {
        channel_id = <0>;
        status = "okay";
        sensor0 {
            subdev_name = "vivcam";
            idx = <1>; //sc132gs
            csi_idx = <2>; //<2>=CSI2X2_A
            flash_led_idx = <0>;
            mode_idx = <0>;
            path_type = "SENSOR_1080X1280_30FPS_RAW10_LINER";
        };
        dma {
            subdev_name = "vipre";
            idx = <0>;
            path_type = "VIPRE_CSI2_ISP1";
        };
        isp {
            subdev_name = "isp";
            idx = <1>;
            path_type = "ISP_MI_MCM_WR0";
            output {
                max_width = <1080>;
                max_height = <1280>;
                bit_per_pixel = <16>;
                frame_count = <3>;
            };
        };
    };
};

&video15{
    status = "okay";
    //vi_mem_pool_region = <0>;
    channel0 {
        channel_id = <0>;
        status = "okay";
        sensor0 {
            subdev_name = "vivcam";
            idx = <0>; //<0>=vivcam0 :2310 
			csi_idx = <1>; //<1>=CSI2_B
            flash_led_idx = <0>;
            mode_idx = <1>;
            path_type = "SENSOR_1920X1088_26FPS_RAW12_LINER";
        };
        dma {
            subdev_name = "vipre";
            idx = <0>;
            path_type = "VIPRE_CSI0_DDR";
        };
    };
};

&trng {
	status = "disabled";
};

&eip_28 {
	status = "okay";
};

&vdec {
	status = "okay";
};

&venc {
	status = "okay";
};

&isp_venc_shake {
	status = "okay";
};

&vidmem {
	status = "okay";
    memory-region = <&vi_mem>;
};

&gpu {
	status = "okay";
};

&npu {
	vha_clk_rate = <1000000000>;
	status = "okay";
};

&fce {
	memory-region = <&facelib_mem>;
	status = "okay";
};

&dpu_enc0 {
	status = "okay";

	ports {
		/* output */
		port@1 {
			reg = <1>;

			enc0_out: endpoint {
				remote-endpoint = <&dsi0_in>;
			};
		};
	};
};

&dpu_enc1 {
        ports {
                /delete-node/ port@0;
        };
};

&dpu {
        status = "okay";
};

&dsi0 {
        status = "okay";
};

&dhost_0 {
	ports {
		#address-cells = <1>;
		#size-cells = <0>;

		port@0 {
			reg = <0>;

			dsi0_in: endpoint {
				remote-endpoint = <&enc0_out>;
			};
		};

		port@1 {
			reg = <1>;

			dsi0_out: endpoint {
				remote-endpoint = <&panel0_in>;
			};
		};
	};

	panel0@0 {
		compatible = "i2c_dsi,ili9881d";
		reg = <0>;
		
		mcu_auto_reset_enable = <0>;
		tp_point_rotate = <0>;
		
		port {
			panel0_in: endpoint {
				remote-endpoint = <&dsi0_out>;
			};
		};
	};
};

&disp1_out {
	remote-endpoint = <&hdmi_tx_in>;
};

&hdmi_tx {
	status = "okay";

	port@0 {
		/* input */
		hdmi_tx_in: endpoint {
			remote-endpoint = <&disp1_out>;
		};
	};
};

&lightsound {
        status = "okay";
        simple-audio-card,dai-link@0 {          /* I2S - AUDIO SYS CODEC 8156*/
                reg = <0>;
                format = "i2s";
                cpu {
                        sound-dai = <&i2s1 0>;
                };
                codec {
                        sound-dai = <&es8156_audio_codec>;
                };
        };
        simple-audio-card,dai-link@1 {          /* I2S - AUDIO SYS CODEC 7210*/
                reg = <1>;
                format = "i2s";
                cpu {
                        sound-dai = <&i2s3 0>;
                };
                codec {
                        sound-dai = <&es7210_audio_codec>;
                };
        };
        simple-audio-card,dai-link@2 {          /* I2S - HDMI */
                reg = <2>;
                format = "i2s";
                cpu {
                        sound-dai = <&light_i2s 1>;
                };
                codec {
                        sound-dai = <&dummy_codec 2>;
                };
        };
};

&light_i2s {
        status = "disabled";
};

&i2s0 {
        status = "okay";
};

&i2s1 {
        status = "okay";
};

&i2s3 {
        status = "okay";
};

&cpus {
	c910_0: cpu@0 {
		operating-points = <
			/* kHz    uV */
			300000	650000
			800000	700000
			1500000	800000
			1848000	1000000
		>;
		light,dvddm-operating-points = <
			/* kHz   uV */
			300000	800000
			800000	800000
			1500000	800000
			1848000	1000000
		>;
	};
	c910_1: cpu@1 {
		operating-points = <
			/* kHz    uV */
			300000	650000
			800000	700000
			1500000	800000
			1848000	1000000
		>;
		light,dvddm-operating-points = <
			/* kHz   uV */
			300000	800000
			800000	800000
			1500000	800000
			1848000	1000000
		>;
	};
	c910_2: cpu@2 {

		operating-points = <
			/* kHz    uV */
			300000	650000
			800000	700000
			1500000	800000
			1848000	1000000
		>;
		light,dvddm-operating-points = <
			/* kHz   uV */
			300000	800000
			800000	800000
			1500000	800000
			1848000	1000000
		>;
	};
	c910_3: cpu@3 {

		operating-points = <
			/* kHz    uV */
			300000	650000
			800000	700000
			1500000	800000
			1848000	1000000
		>;
		light,dvddm-operating-points = <
			/* kHz   uV */
			300000	800000
			800000	800000
			1500000	800000
			1848000	1000000
		>;
	};
};
